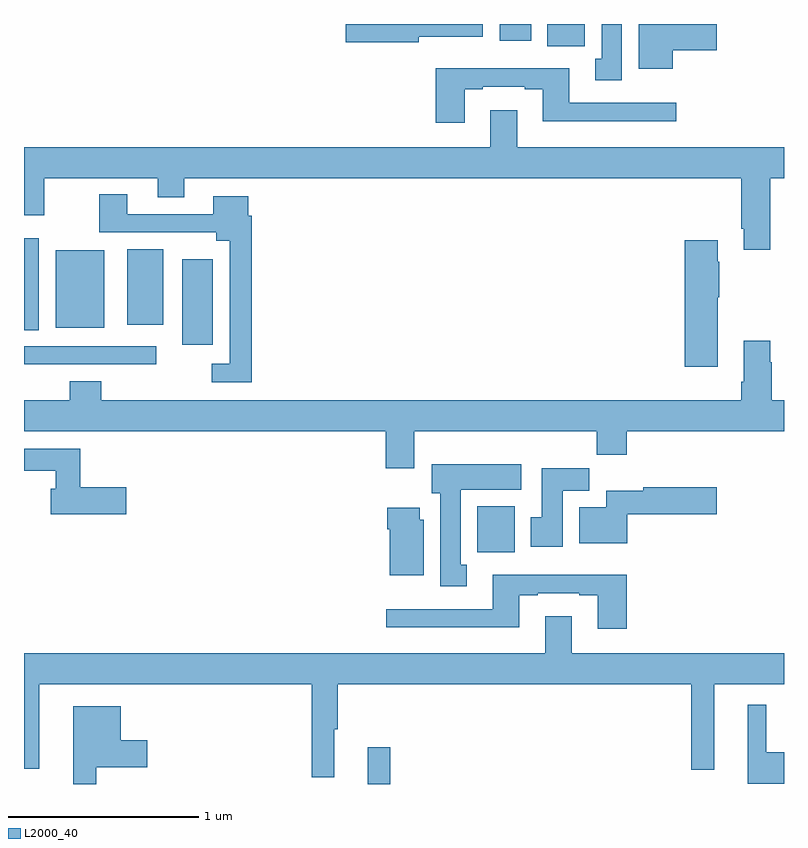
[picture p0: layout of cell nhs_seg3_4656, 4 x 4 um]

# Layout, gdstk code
import gdstk
lib = gdstk.Library(unit=1e-6, precision=1e-09)
def R(c, l, rs):  # rectangles x0, y0, x1, y1
    for r in rs: c.add(gdstk.rectangle(r[:2], r[2:], *l))
def P(c, l, *ps):  # polygons
    for p in ps: c.add(gdstk.Polygon(p, *l))
L2000_40 = (2000, 40)

nhs_seg3_4656 = lib.new_cell('nhs_seg3_4656')
R(nhs_seg3_4656, L2000_40, [(362.81,692.4,362.927,692.593), (363.386,693.62,363.583,693.862), (361,694.608,361.696,694.704), (361.832,694.713,361.993,695.161), (361,694.789,361.078,695.272), (361.166,694.802,361.423,695.209), (361.544,694.817,361.732,695.215), (363.755,696.284,363.952,696.4), (363.503,696.312,363.67,696.4)])
P(nhs_seg3_4656, L2000_40, [(364.414,696.263),(364.645,696.263),(364.645,696.4),(364.235,696.4),(364.235,696.164),(364.414,696.164)],
  [(364.147,696.4),(364.04,696.4),(364.04,696.218),(364.007,696.218),(364.007,696.105),(364.147,696.105)],
  [(363.078,696.332),(363.415,696.332),(363.415,696.4),(362.694,696.4),(362.694,696.305),(363.078,696.305)],
  [(363.319,696.057),(363.415,696.057),(363.415,696.069),(363.635,696.069),(363.635,696.057),(363.731,696.057),(363.731,695.888),(364.432,695.888),(364.432,695.985),(363.871,695.985),(363.871,696.166),(363.167,696.166),(363.167,695.88),(363.319,695.88)],
  [(364.927,695.588),(365,695.588),(365,695.752),(363.595,695.752),(363.595,695.947),(363.455,695.947),(363.455,695.752),(361,695.752),(361,695.394),(361.107,695.394),(361.107,695.588),(361.703,695.588),(361.703,695.489),(361.843,695.489),(361.843,695.588),(364.775,695.588),(364.775,695.323),(364.787,695.323),(364.787,695.211),(364.927,695.211)],
  [(362.198,695.39),(362.179,695.39),(362.179,695.494),(361.997,695.494),(361.997,695.4),(361.543,695.4),(361.543,695.503),(361.396,695.503),(361.396,695.304),(362.012,695.304),(362.012,695.258),(362.082,695.258),(362.082,694.611),(361.989,694.611),(361.989,694.515),(362.198,694.515)],
  [(364.651,694.961),(364.659,694.961),(364.659,695.15),(364.651,695.15),(364.651,695.263),(364.478,695.263),(364.478,694.596),(364.651,694.596)],
  [(363.055,694.256),(364.015,694.256),(364.015,694.132),(364.172,694.132),(364.172,694.256),(365,694.256),(365,694.42),(364.935,694.42),(364.935,694.619),(364.927,694.619),(364.927,694.732),(364.787,694.732),(364.787,694.516),(364.775,694.516),(364.775,694.42),(361.406,694.42),(361.406,694.519),(361.241,694.519),(361.241,694.42),(361,694.42),(361,694.256),(362.903,694.256),(362.903,694.062),(363.055,694.062)],
  [(361.537,693.963),(361.295,693.963),(361.295,694.164),(361,694.164),(361,694.048),(361.167,694.048),(361.167,693.955),(361.141,693.955),(361.141,693.821),(361.537,693.821)],
  [(363.331,693.554),(363.298,693.554),(363.298,693.95),(363.616,693.95),(363.616,694.084),(363.146,694.084),(363.146,693.93),(363.191,693.93),(363.191,693.441),(363.331,693.441)],
  [(363.835,693.944),(363.974,693.944),(363.974,694.063),(363.725,694.063),(363.725,693.804),(363.668,693.804),(363.668,693.648),(363.835,693.648)],
  [(364.174,693.821),(364.645,693.821),(364.645,693.963),(364.26,693.963),(364.26,693.943),(364.064,693.943),(364.064,693.856),(363.923,693.856),(363.923,693.668),(364.174,693.668)],
  [(363.103,693.792),(363.082,693.792),(363.082,693.853),(362.912,693.853),(362.912,693.74),(362.924,693.74),(362.924,693.5),(363.103,693.5)],
  [(364.172,693.502),(363.467,693.502),(363.467,693.321),(362.907,693.321),(362.907,693.224),(363.607,693.224),(363.607,693.393),(363.703,693.393),(363.703,693.405),(363.923,693.405),(363.923,693.393),(364.019,693.393),(364.019,693.216),(364.172,693.216)],
  [(362.633,692.688),(362.651,692.688),(362.651,692.924),(364.512,692.924),(364.512,692.475),(364.633,692.475),(364.633,692.924),(365,692.924),(365,693.088),(363.883,693.088),(363.883,693.283),(363.743,693.283),(363.743,693.088),(361,693.088),(361,692.48),(361.081,692.48),(361.081,692.924),(362.515,692.924),(362.515,692.436),(362.633,692.436)],
  [(365,692.566),(364.906,692.566),(364.906,692.818),(364.808,692.818),(364.808,692.402),(365,692.402)],
  [(361.381,692.489),(361.648,692.489),(361.648,692.631),(361.51,692.631),(361.51,692.809),(361.259,692.809),(361.259,692.4),(361.381,692.4)])

lib.write_gds('nhs_seg3_4656.gds')
